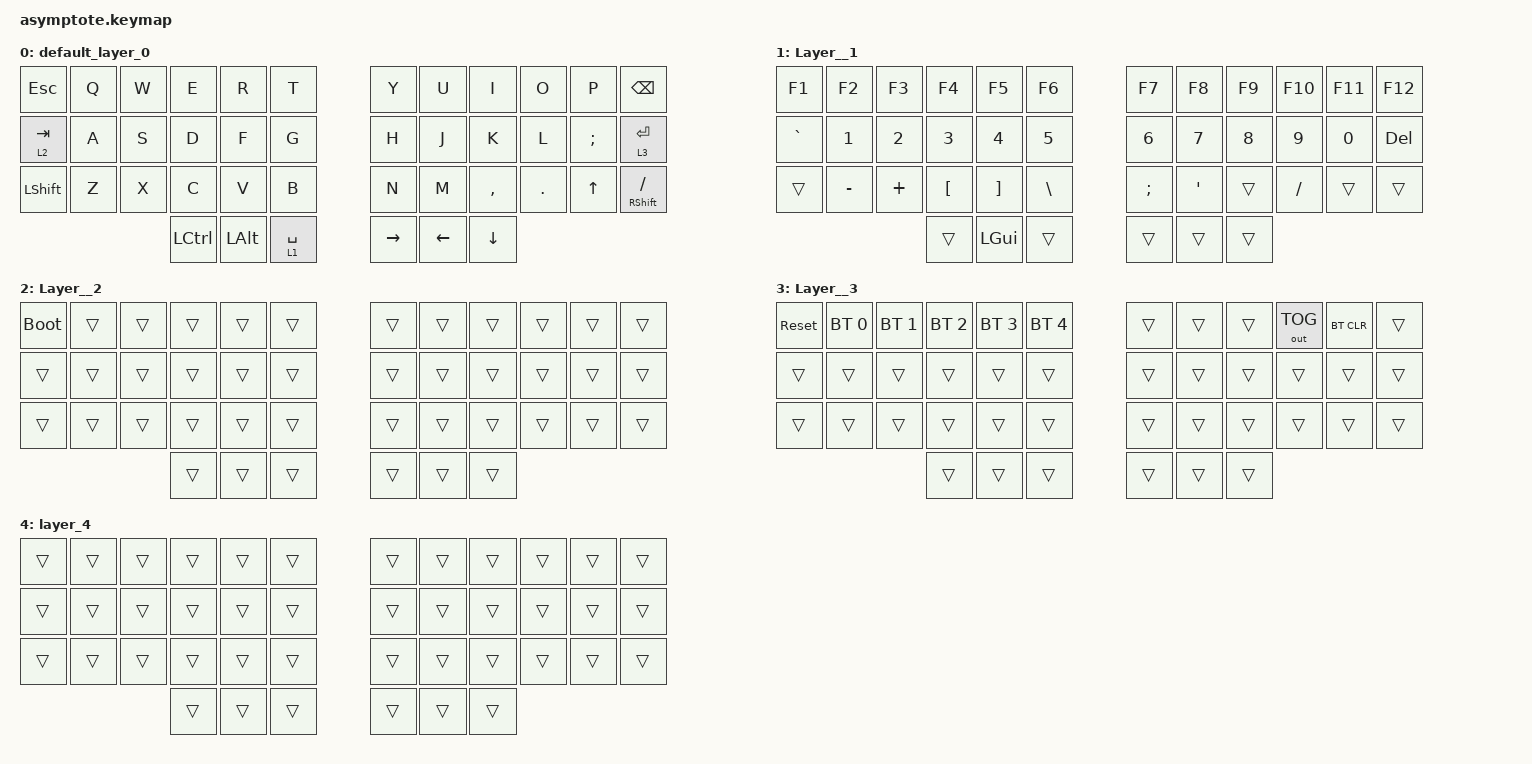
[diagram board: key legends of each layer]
/*
 * Copyright (c) 2020 The ZMK Contributors
 *
 * SPDX-License-Identifier: MIT
 */

#include <behaviors.dtsi>
#include <dt-bindings/zmk/keys.h>
#include <dt-bindings/zmk/bt.h>
#include <dt-bindings/zmk/outputs.h>

&mt {
    tapping-term-ms = <200>;
};

&lt {
    quick-tap-ms = <400>;
};

/ {
    keymap {
        compatible = "zmk,keymap";

        default_layer_0 {
            bindings = <
  &kp ESC  &kp Q  &kp W      &kp E     &kp R        &kp T        &kp Y     &kp U      &kp I    &kp O          &kp P          &kp BSPC
&lt 2 TAB  &kp A  &kp S      &kp D     &kp F        &kp G        &kp H     &kp J      &kp K    &kp L  &kp SEMICOLON         &lt 3 RET
&kp LSHFT  &kp Z  &kp X      &kp C     &kp V        &kp B        &kp N     &kp M  &kp COMMA  &kp DOT         &kp UP  &mt RSHIFT SLASH
                         &kp LCTRL  &kp LALT  &lt 1 SPACE    &kp RIGHT  &kp LEFT   &kp DOWN
            >;
        };

        Layer__1 {
            bindings = <
   &kp F1     &kp F2    &kp F3    &kp F4    &kp F5         &kp F6      &kp F7            &kp F8  &kp F9    &kp F10  &kp F11  &kp F12
&kp GRAVE     &kp N1    &kp N2    &kp N3    &kp N4         &kp N5      &kp N6            &kp N7  &kp N8     &kp N9   &kp N0  &kp DEL
   &trans  &kp MINUS  &kp PLUS  &kp LBKT  &kp RBKT  &kp BACKSLASH    &kp SEMI  &kp SINGLE_QUOTE  &trans  &kp SLASH   &trans   &trans
                                  &trans  &kp LGUI         &trans      &trans            &trans  &trans
            >;
        };

        Layer__2 {
            bindings = <
&bootloader  &trans  &trans  &trans  &trans  &trans    &trans  &trans  &trans  &trans  &trans  &trans
     &trans  &trans  &trans  &trans  &trans  &trans    &trans  &trans  &trans  &trans  &trans  &trans
     &trans  &trans  &trans  &trans  &trans  &trans    &trans  &trans  &trans  &trans  &trans  &trans
                             &trans  &trans  &trans    &trans  &trans  &trans
            >;
        };

        Layer__3 {
            bindings = <
&sys_reset  &bt BT_SEL 0  &bt BT_SEL 1  &bt BT_SEL 2  &bt BT_SEL 3  &bt BT_SEL 4    &trans  &trans  &trans  &out OUT_TOG  &bt BT_CLR  &trans
    &trans        &trans        &trans        &trans        &trans        &trans    &trans  &trans  &trans        &trans      &trans  &trans
    &trans        &trans        &trans        &trans        &trans        &trans    &trans  &trans  &trans        &trans      &trans  &trans
                                              &trans        &trans        &trans    &trans  &trans  &trans
            >;
        };

        layer_4 {
            bindings = <
&trans  &trans  &trans  &trans  &trans  &trans    &trans  &trans  &trans  &trans  &trans  &trans
&trans  &trans  &trans  &trans  &trans  &trans    &trans  &trans  &trans  &trans  &trans  &trans
&trans  &trans  &trans  &trans  &trans  &trans    &trans  &trans  &trans  &trans  &trans  &trans
                        &trans  &trans  &trans    &trans  &trans  &trans
            >;
        };
    };
};
